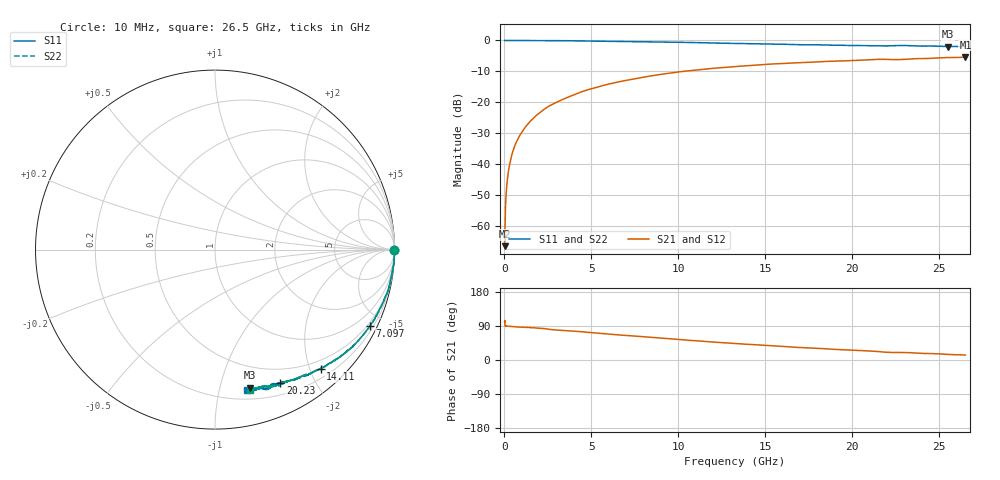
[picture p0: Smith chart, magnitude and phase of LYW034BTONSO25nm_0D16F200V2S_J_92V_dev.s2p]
!Keysight Technologies,N5222B,MY61253708,A.15.00.15
!Date: Wednesday, June 19, 2024 09:32:26
!Correction: S11(C  2-Port  )
!S21(C  2-Port  )
!S12(C  2-Port  )
!S22(C  2-Port  )
!S2P File: Measurements: S11, S21, S12, S22:
# Hz S  RI  R 50
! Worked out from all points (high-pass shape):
!   2651 points, 10 MHz to 26.5 GHz, reference 50 ohm
!   highest |S21| = -5.38 dB at 26.5 GHz (marker M1); lowest = -66.5 dB at 10 MHz (marker M2)
!   |S21| within 3 dB of the highest: 13.4 GHz to end of sweep
!   lowest |S11| = -2.0 dB at 25.5 GHz (marker M3), VSWR 8.69, Z = 15 - j62.2 ohm
!   |S11| at or under -10 dB: nowhere
!   |S22| runs from -1.9 to 0.0 dB; largest |S21 - S12| = 0.0069
!   S11 on the Smith chart (normalised r, x): 10 MHz: open; 7.097 GHz: 0.37, -4.26; 14.11 GHz: 0.35, -2.17; 20.23 GHz: 0.33, -1.55; 26.5 GHz: 0.28, -1.21
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1e7  0.9987 -0.00244  -8.95e-05 0.000462  3.44e-05 0.000306  0.9985 -0.00101
7.997358e7  0.9999 -0.00574  4.66e-05 0.00267  2.28e-05 0.00273  0.9994 -0.00522
1.599434e8  0.9999 -0.0115  4.99e-05 0.00535  4.04e-05 0.0054  0.9997 -0.0107
1.999283e8  0.9999 -0.0138  0.0001 0.00668  0.000117 0.00673  0.9997 -0.0129
2.599057e8  0.9995 -0.018  0.000136 0.00869  0.000217 0.00874  0.9995 -0.017
3.598679e8  0.9994 -0.0248  0.000327 0.0119  0.000317 0.0121  0.9994 -0.024
4.898189e8  0.9989 -0.0335  0.000549 0.0163  0.00053 0.0164  0.9988 -0.0321
6.497585e8  0.9985 -0.0438  0.000932 0.0215  0.000897 0.0217  0.9985 -0.0424
8.396868e8  0.9979 -0.0564  0.00149 0.0277  0.00154 0.028  0.998 -0.0556
1.459453e9  0.9905 -0.0989  0.0037 0.0485  0.00373 0.0488  0.993 -0.0945
2.339121e9  0.9813 -0.1533  0.0102 0.0785  0.0104 0.0791  0.9827 -0.1529
3.208792e9  0.9698 -0.2091  0.0214 0.1046  0.0217 0.1053  0.9705 -0.2073
4.428332e9  0.9414 -0.2823  0.039 0.1423  0.0394 0.1433  0.9437 -0.2785
7.097325e9  0.8633 -0.4254  0.099 0.2065  0.1005 0.2074  0.8658 -0.4227
8.846664e9  0.7999 -0.5041  0.1464 0.2374  0.1481 0.2382  0.8029 -0.5011
1.3255e10  0.6226 -0.6433  0.2742 0.2609  0.2768 0.2606  0.6286 -0.6407
1.411468e10  0.588 -0.6642  0.2967 0.258  0.2992 0.2574  0.5957 -0.6586
1.767333e10  0.4499 -0.7209  0.3802 0.2324  0.384 0.2306  0.4634 -0.718
2.023237e10  0.3641 -0.7429  0.4312 0.2042  0.4335 0.2019  0.38 -0.7421
2.209166e10  0.315 -0.7522  0.4624 0.17  0.4644 0.1668  0.3121 -0.759
2.550038e10  0.1966 -0.7689  0.511 0.1331  0.5127 0.1324  0.2197 -0.7731
2.65e10  0.1777 -0.7834  0.5244 0.1221  0.5241 0.1178  0.1932 -0.7827
